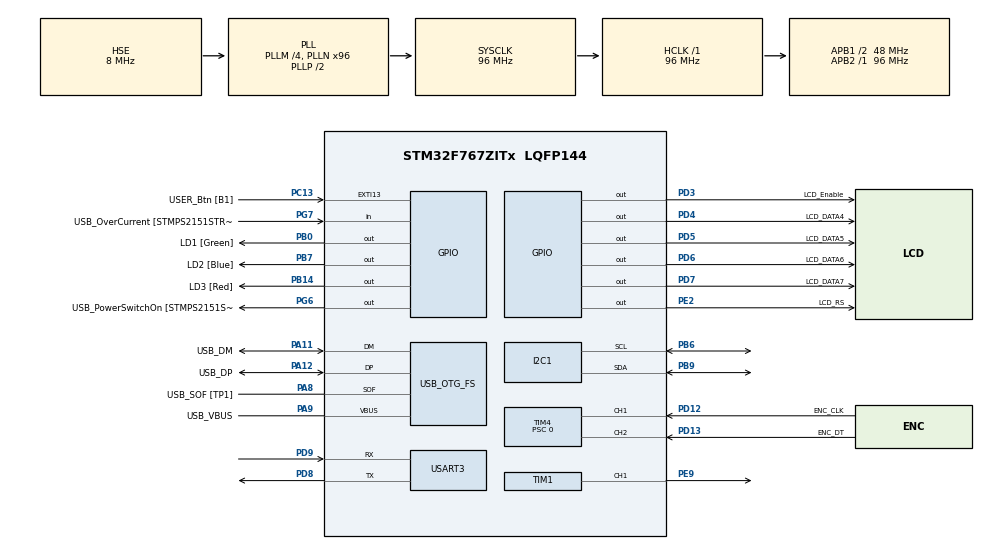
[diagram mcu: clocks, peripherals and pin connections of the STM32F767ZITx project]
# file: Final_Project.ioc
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Dma.Request0=USART3_RX
Dma.USART3_RX.0.Direction=DMA_PERIPH_TO_MEMORY
Dma.USART3_RX.0.FIFOMode=DMA_FIFOMODE_DISABLE
Dma.USART3_RX.0.Instance=DMA1_Stream1
Dma.USART3_RX.0.MemDataAlignment=DMA_MDATAALIGN_BYTE
Dma.USART3_RX.0.MemInc=DMA_MINC_ENABLE
Dma.USART3_RX.0.Mode=DMA_NORMAL
Dma.USART3_RX.0.PeriphDataAlignment=DMA_PDATAALIGN_BYTE
Dma.USART3_RX.0.PeriphInc=DMA_PINC_DISABLE
Dma.USART3_RX.0.Priority=DMA_PRIORITY_LOW
I2C1.Timing=0x20303E5D
Mcu.Family=STM32F7
Mcu.Name=STM32F767ZITx
Mcu.Package=LQFP144
NVIC.DMA1_Stream1_IRQn=true\:0\:0\:false\:true\:true\:2\:false\:true
NVIC.PriorityGroup=NVIC_PRIORITYGROUP_4
NVIC.TIM3_IRQn=true\:0\:0\:false\:false\:true\:true\:true
NVIC.USART3_IRQn=true\:0\:0\:false\:true\:true\:1\:true\:true
PA1.GPIO_Label=RMII_REF_CLK [LAN8742A-CZ-TR_REFCLK0]
PA1.Signal=ETH_REF_CLK
PA10.GPIO_Label=USB_ID
PA10.Signal=USB_OTG_FS_ID
PA11.GPIO_Label=USB_DM
PA11.Mode=Device_Only
PA11.Signal=USB_OTG_FS_DM
PA12.GPIO_Label=USB_DP
PA12.Mode=Device_Only
PA12.Signal=USB_OTG_FS_DP
PA13.GPIO_Label=TMS
PA13.Mode=Serial_Wire
PA13.Signal=SYS_JTMS-SWDIO
PA14.GPIO_Label=TCK
PA14.Mode=Serial_Wire
PA14.Signal=SYS_JTCK-SWCLK
PA2.GPIO_Label=RMII_MDIO [LAN8742A-CZ-TR_MDIO]
PA2.Signal=ETH_MDIO
PA7.GPIO_Label=RMII_CRS_DV [LAN8742A-CZ-TR_CRS_DV]
PA7.Signal=ETH_CRS_DV
PA8.GPIO_Label=USB_SOF [TP1]
PA8.Mode=Activate_SOF_FS
PA8.Signal=USB_OTG_FS_SOF
PA9.GPIO_Label=USB_VBUS
PA9.Mode=Activate_VBUS
PA9.Signal=USB_OTG_FS_VBUS
PB0.GPIO_Label=LD1 [Green]
PB0.Signal=GPIO_Output
PB13.GPIO_Label=RMII_TXD1 [LAN8742A-CZ-TR_TXD1]
PB13.Signal=ETH_TXD1
PB14.GPIO_Label=LD3 [Red]
PB14.Signal=GPIO_Output
PB3.GPIO_Label=SWO
PB3.Signal=SYS_JTDO-SWO
PB6.Mode=I2C
PB6.Signal=I2C1_SCL
PB7.GPIO_Label=LD2 [Blue]
PB7.Signal=GPIO_Output
PB9.Mode=I2C
PB9.Signal=I2C1_SDA
PC1.GPIO_Label=RMII_MDC [LAN8742A-CZ-TR_MDC]
PC1.Signal=ETH_MDC
PC13.GPIO_Label=USER_Btn [B1]
PC13.Signal=GPXTI13
PC14/OSC32_IN.Mode=LSE-External-Oscillator
PC14/OSC32_IN.Signal=RCC_OSC32_IN
PC15/OSC32_OUT.Mode=LSE-External-Oscillator
PC15/OSC32_OUT.Signal=RCC_OSC32_OUT
PC4.GPIO_Label=RMII_RXD0 [LAN8742A-CZ-TR_RXD0]
PC4.Signal=ETH_RXD0
PC5.GPIO_Label=RMII_RXD1 [LAN8742A-CZ-TR_RXD1]
PC5.Signal=ETH_RXD1
PD12.GPIO_Label=ENC_CLK
PD12.Signal=S_TIM4_CH1
PD13.GPIO_Label=ENC_DT
PD13.Signal=S_TIM4_CH2
PD3.GPIO_Label=LCD_Enable
PD3.Signal=GPIO_Output
PD4.GPIO_Label=LCD_DATA4
PD4.Signal=GPIO_Output
PD5.GPIO_Label=LCD_DATA5
PD5.Signal=GPIO_Output
PD6.GPIO_Label=LCD_DATA6
PD6.Signal=GPIO_Output
PD7.GPIO_Label=LCD_DATA7
PD7.Signal=GPIO_Output
PD8.GPIO_ModeDefaultPP=GPIO_MODE_AF_PP
PD8.GPIO_PuPd=GPIO_NOPULL
PD8.GPIO_Speed=GPIO_SPEED_FREQ_VERY_HIGH
PD8.Mode=Asynchronous
PD8.Signal=USART3_TX
PD9.GPIO_ModeDefaultPP=GPIO_MODE_AF_PP
PD9.GPIO_PuPd=GPIO_NOPULL
PD9.GPIO_Speed=GPIO_SPEED_FREQ_VERY_HIGH
PD9.Mode=Asynchronous
PD9.Signal=USART3_RX
PE2.GPIO_Label=LCD_RS
PE2.Signal=GPIO_Output
PE9.Signal=S_TIM1_CH1
PG11.GPIO_Label=RMII_TX_EN [LAN8742A-CZ-TR_TXEN]
PG11.Signal=ETH_TX_EN
PG13.GPIO_Label=RMII_TXD0 [LAN8742A-CZ-TR_TXD0]
PG13.Signal=ETH_TXD0
PG6.GPIO_Label=USB_PowerSwitchOn [STMPS2151STR_EN]
PG6.Signal=GPIO_Output
PG7.GPIO_Label=USB_OverCurrent [STMPS2151STR_FAULT]
PG7.Signal=GPIO_Input
PH0/OSC_IN.GPIO_Label=MCO [STM32F103CBT6_PA8]
PH0/OSC_IN.Mode=HSE-External-Clock-Source
PH0/OSC_IN.Signal=RCC_OSC_IN
PH1/OSC_OUT.Mode=HSE-External-Clock-Source
PH1/OSC_OUT.Signal=RCC_OSC_OUT
ProjectManager.HeapSize=0x200
ProjectManager.StackSize=0x400
ProjectManager.TargetToolchain=STM32CubeIDE
RCC.48MHZClocksFreq_Value=24000000
RCC.AHBFreq_Value=96000000
RCC.APB1CLKDivider=RCC_HCLK_DIV2
RCC.APB1Freq_Value=48000000
RCC.APB1TimFreq_Value=96000000
RCC.APB2Freq_Value=96000000
RCC.APB2TimFreq_Value=96000000
RCC.CortexFreq_Value=96000000
RCC.HCLKFreq_Value=96000000
RCC.HSE_VALUE=8000000
RCC.HSI_VALUE=16000000
RCC.PLLM=4
RCC.PLLMUL=RCC_PLL_MUL9
RCC.PLLN=96
RCC.PLLQ=4
RCC.PRESCALERUSB=RCC_USBCLKSOURCE_PLL_DIV1_5
RCC.SYSCLKFreq_VALUE=96000000
RCC.SYSCLKSource=RCC_SYSCLKSOURCE_PLLCLK
RCC.SYSCLKSourceVirtual=RCC_SYSCLKSOURCE_PLLCLK
RCC.USBFreq_Value=48000000
RCC.VCOOutputFreq_Value=192000000
SH.S_TIM1_CH1.0=TIM1_CH1,PWM Generation1 CH1
SH.S_TIM4_CH1.0=TIM4_CH1,Encoder_Interface
SH.S_TIM4_CH2.0=TIM4_CH2,Encoder_Interface
TIM1.AutoReloadPreload=TIM_AUTORELOAD_PRELOAD_ENABLE
TIM1.Channel-PWM\ Generation1\ CH1=TIM_CHANNEL_1
TIM1.Period=1000-1
TIM1.Prescaler=96-1
TIM3.AutoReloadPreload=TIM_AUTORELOAD_PRELOAD_ENABLE
TIM3.Period=10000-1
TIM3.Prescaler=9600-1
TIM4.AutoReloadPreload=TIM_AUTORELOAD_PRELOAD_ENABLE
TIM4.EncoderMode=TIM_ENCODERMODE_TI12
TIM4.IC1Filter=15
TIM4.IC2Filter=15
TIM4.IC2Polarity=TIM_ICPOLARITY_RISING
TIM4.Period=65535
TIM4.Prescaler=0
TIM4.TIM_MasterOutputTrigger=TIM_TRGO_RESET
USART3.VirtualMode-Asynchronous=VM_ASYNC
USB_OTG_FS.VirtualMode=Device_Only
VP_TIM1_VS_ClockSourceINT.Mode=Internal
VP_TIM3_VS_ClockSourceINT.Mode=Internal
board=NUCLEO-F767ZI

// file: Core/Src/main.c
/* USER CODE BEGIN Header */
/**
  ******************************************************************************
  * @file           : main.c
  * @brief          : Main program body
  ******************************************************************************
  * @attention
  *
  * <h2><center>&copy; Copyright (c) 2022 STMicroelectronics.
  * All rights reserved.</center></h2>
  *
  * This software component is licensed by ST under BSD 3-Clause license,
  * the "License"; You may not use this file except in compliance with the
  * License. You may obtain a copy of the License at:
  *                        opensource.org/licenses/BSD-3-Clause
  *
  ******************************************************************************
  */
/* USER CODE END Header */
#include "main.h"

/* USER CODE BEGIN Includes */
#include "stdio.h"
#include "string.h"
#include "stdlib.h"
#include "BMPXX80.h"
#include "LCD.h"

/* USER CODE END Includes */

I2C_HandleTypeDef hi2c1;

TIM_HandleTypeDef htim1;
TIM_HandleTypeDef htim3;
TIM_HandleTypeDef htim4;

UART_HandleTypeDef huart3;
DMA_HandleTypeDef hdma_usart3_rx;

PCD_HandleTypeDef hpcd_USB_OTG_FS;

/* USER CODE BEGIN PV */
float current_temp_f;
char current_temp_ch_UART[29];
char current_temp_ch_LCD[29];
float set_temp_f = 20.0;

char set_temp_ch_UART[24];
char set_temp_ch_LCD[24];
int32_t pressure;

uint32_t enc_uint;
static uint32_t prev_enc_uint = 65535 / 2;
int32_t enc_diff_int;

char enc_ch[64];

float pwm_duty_f;
uint16_t pwm_duty_u = 0;

char get_UART[10];

/* USER CODE END PV */

void SystemClock_Config(void);
static void MX_GPIO_Init(void);
static void MX_DMA_Init(void);
static void MX_USART3_UART_Init(void);
static void MX_USB_OTG_FS_PCD_Init(void);
static void MX_I2C1_Init(void);
static void MX_TIM1_Init(void);
static void MX_TIM3_Init(void);
static void MX_TIM4_Init(void);
static void MX_NVIC_Init(void);

/* USER CODE BEGIN 0 */
struct Controller{
	float Kp;
	float Ki;
	float Kd;
	float Tp;
	float prev_error;
	float prev_u_I;

};

float calculate_PID(struct Controller *PID, float set_temp, float meas_temp){
	float u = 0;
	float error;
	float u_P, u_I , u_D;

	error = set_temp - meas_temp;

	// Proportional
	u_P = PID->Kp * error;

	// Integral
	u_I = PID->Ki * PID->Tp / 2.0 * (error + PID->prev_error) + PID->prev_u_I;
	PID->prev_u_I = u_I;

	// Derivative
	u_D = (error - PID->prev_error) / PID->Tp;

	PID->prev_error = error;

	// Sum of P, I and D components
	u = u_P + u_I + u_D;

	return u;
}

struct Controller PID1;

/* USER CODE END 0 */

int main(void)
{

  /* MCU Configuration--------------------------------------------------------*/

  /* Reset of all peripherals, Initializes the Flash interface and the Systick. */
  HAL_Init();

  /* Configure the system clock */
  SystemClock_Config();

  /* Initialize all configured peripherals */
  MX_GPIO_Init();
  MX_DMA_Init();
  MX_USART3_UART_Init();
  MX_USB_OTG_FS_PCD_Init();
  MX_I2C1_Init();
  MX_TIM1_Init();
  MX_TIM3_Init();
  MX_TIM4_Init();

  /* Initialize interrupts */
  MX_NVIC_Init();
  /* USER CODE BEGIN 2 */

  // TIM1 used used for controlling MOSFET with PWM
  HAL_TIM_PWM_Start(&htim1, TIM_CHANNEL_1);

  // TIM3 used for sampling temperature and PID controller
  HAL_TIM_Base_Start_IT(&htim3);

  // TIM4 used for encoder
  HAL_TIM_Encoder_Start(&htim4, TIM_CHANNEL_ALL);

  // BMP280 (temperature sensor) init
  BMP280_Init(&hi2c1, BMP280_TEMPERATURE_16BIT, BMP280_STANDARD, BMP280_FORCEDMODE);

  // Prevents from bugging set_temp_f when encoder counter value goes through 0
  htim4.Instance->CNT = 65535 / 2;

  LCD_init();
  LCD_write_command(LCD_CLEAR_INSTRUCTION);
  LCD_write_command(LCD_HOME_INSTRUCTION);
  HAL_Delay(2000);

  // Initialize PID Controller parameters and init data
  PID1.Kp = 0.03928;
  PID1.Ki = 0.0002692;
  PID1.Kd = 0.01957;
  PID1.Tp = 1;
  PID1.prev_error = 0;
  PID1.prev_u_I = 0;

  // Get setpoint value from user
  HAL_UARTEx_ReceiveToIdle_DMA(&huart3, (uint8_t *)get_UART, 10);

  /* USER CODE END 2 */

  /* Infinite loop */
  while (1)
  {

    /* USER CODE BEGIN 3 */

	  // ENCODER
	  enc_uint = __HAL_TIM_GET_COUNTER(&htim4);	// enc_uint = htim4.Instance->CNT;
	  enc_diff_int = enc_uint - prev_enc_uint;
	  if(enc_diff_int >= 2 || enc_diff_int <= -2){
		  enc_diff_int /= 2;
		  set_temp_f += 0.5 * enc_diff_int;
		  if(set_temp_f > 65) set_temp_f = 65;
		  if(set_temp_f < 20) set_temp_f = 20;
	  }
	  prev_enc_uint = enc_uint;

	  // LCD
	  snprintf(current_temp_ch_LCD, LCD_MAXIMUM_LINE_LENGTH, "Temp:  %.2f", current_temp_f);
	  LCD_write_text(current_temp_ch_LCD);
	  LCD_write_data(LCD_CHAR_DEGREE);
	  LCD_write_char('C');
	  snprintf(set_temp_ch_LCD, LCD_MAXIMUM_LINE_LENGTH, "Set T: %.2f", set_temp_f);
	  LCD_goto_line(1);
	  LCD_write_text(set_temp_ch_LCD);
	  LCD_write_data(LCD_CHAR_DEGREE);
	  LCD_write_char('C');
	  HAL_Delay(100);
	  LCD_write_text("                ");
	  LCD_write_command(LCD_HOME_INSTRUCTION);

	  // Reset data from UART
	  memset(get_UART, 0, 10);

  }
  /* USER CODE END 3 */
}

void SystemClock_Config(void)
{
  RCC_OscInitTypeDef RCC_OscInitStruct = {0};
  RCC_ClkInitTypeDef RCC_ClkInitStruct = {0};
  RCC_PeriphCLKInitTypeDef PeriphClkInitStruct = {0};

  /** Configure LSE Drive Capability
  */
  HAL_PWR_EnableBkUpAccess();
  /** Configure the main internal regulator output voltage
  */
  __HAL_RCC_PWR_CLK_ENABLE();
  __HAL_PWR_VOLTAGESCALING_CONFIG(PWR_REGULATOR_VOLTAGE_SCALE3);
  /** Initializes the RCC Oscillators according to the specified parameters
  * in the RCC_OscInitTypeDef structure.
  */
  RCC_OscInitStruct.OscillatorType = RCC_OSCILLATORTYPE_HSE;
  RCC_OscInitStruct.HSEState = RCC_HSE_BYPASS;
  RCC_OscInitStruct.PLL.PLLState = RCC_PLL_ON;
  RCC_OscInitStruct.PLL.PLLSource = RCC_PLLSOURCE_HSE;
  RCC_OscInitStruct.PLL.PLLM = 4;
  RCC_OscInitStruct.PLL.PLLN = 96;
  RCC_OscInitStruct.PLL.PLLP = RCC_PLLP_DIV2;
  RCC_OscInitStruct.PLL.PLLQ = 4;
  RCC_OscInitStruct.PLL.PLLR = 2;
  if (HAL_RCC_OscConfig(&RCC_OscInitStruct) != HAL_OK)
  {
    Error_Handler();
  }
  /** Activate the Over-Drive mode
  */
  if (HAL_PWREx_EnableOverDrive() != HAL_OK)
  {
    Error_Handler();
  }
  /** Initializes the CPU, AHB and APB buses clocks
  */
  RCC_ClkInitStruct.ClockType = RCC_CLOCKTYPE_HCLK|RCC_CLOCKTYPE_SYSCLK
                              |RCC_CLOCKTYPE_PCLK1|RCC_CLOCKTYPE_PCLK2;
  RCC_ClkInitStruct.SYSCLKSource = RCC_SYSCLKSOURCE_PLLCLK;
  RCC_ClkInitStruct.AHBCLKDivider = RCC_SYSCLK_DIV1;
  RCC_ClkInitStruct.APB1CLKDivider = RCC_HCLK_DIV2;
  RCC_ClkInitStruct.APB2CLKDivider = RCC_HCLK_DIV1;

  if (HAL_RCC_ClockConfig(&RCC_ClkInitStruct, FLASH_LATENCY_3) != HAL_OK)
  {
    Error_Handler();
  }
  PeriphClkInitStruct.PeriphClockSelection = RCC_PERIPHCLK_USART3|RCC_PERIPHCLK_I2C1
                              |RCC_PERIPHCLK_CLK48;
  PeriphClkInitStruct.Usart3ClockSelection = RCC_USART3CLKSOURCE_PCLK1;
  PeriphClkInitStruct.I2c1ClockSelection = RCC_I2C1CLKSOURCE_PCLK1;
  PeriphClkInitStruct.Clk48ClockSelection = RCC_CLK48SOURCE_PLL;
  if (HAL_RCCEx_PeriphCLKConfig(&PeriphClkInitStruct) != HAL_OK)
  {
    Error_Handler();
  }
}

/**
  * @brief NVIC Configuration.
  * @retval None
  */
static void MX_NVIC_Init(void)
{
  /* USART3_IRQn interrupt configuration */
  HAL_NVIC_SetPriority(USART3_IRQn, 0, 0);
  HAL_NVIC_EnableIRQ(USART3_IRQn);
  /* DMA1_Stream1_IRQn interrupt configuration */
  HAL_NVIC_SetPriority(DMA1_Stream1_IRQn, 0, 0);
  HAL_NVIC_EnableIRQ(DMA1_Stream1_IRQn);
}

static void MX_I2C1_Init(void)
{

  hi2c1.Instance = I2C1;
  hi2c1.Init.Timing = 0x20303E5D;
  hi2c1.Init.OwnAddress1 = 0;
  hi2c1.Init.AddressingMode = I2C_ADDRESSINGMODE_7BIT;
  hi2c1.Init.DualAddressMode = I2C_DUALADDRESS_DISABLE;
  hi2c1.Init.OwnAddress2 = 0;
  hi2c1.Init.OwnAddress2Masks = I2C_OA2_NOMASK;
  hi2c1.Init.GeneralCallMode = I2C_GENERALCALL_DISABLE;
  hi2c1.Init.NoStretchMode = I2C_NOSTRETCH_DISABLE;
  if (HAL_I2C_Init(&hi2c1) != HAL_OK)
  {
    Error_Handler();
  }
  /** Configure Analogue filter
  */
  if (HAL_I2CEx_ConfigAnalogFilter(&hi2c1, I2C_ANALOGFILTER_ENABLE) != HAL_OK)
  {
    Error_Handler();
  }
  /** Configure Digital filter
  */
  if (HAL_I2CEx_ConfigDigitalFilter(&hi2c1, 0) != HAL_OK)
  {
    Error_Handler();
  }

}

static void MX_TIM1_Init(void)
{

  TIM_ClockConfigTypeDef sClockSourceConfig = {0};
  TIM_MasterConfigTypeDef sMasterConfig = {0};
  TIM_OC_InitTypeDef sConfigOC = {0};
  TIM_BreakDeadTimeConfigTypeDef sBreakDeadTimeConfig = {0};

  htim1.Instance = TIM1;
  htim1.Init.Prescaler = 96-1;
  htim1.Init.CounterMode = TIM_COUNTERMODE_UP;
  htim1.Init.Period = 1000-1;
  htim1.Init.ClockDivision = TIM_CLOCKDIVISION_DIV1;
  htim1.Init.RepetitionCounter = 0;
  htim1.Init.AutoReloadPreload = TIM_AUTORELOAD_PRELOAD_ENABLE;
  if (HAL_TIM_Base_Init(&htim1) != HAL_OK)
  {
    Error_Handler();
  }
  sClockSourceConfig.ClockSource = TIM_CLOCKSOURCE_INTERNAL;
  if (HAL_TIM_ConfigClockSource(&htim1, &sClockSourceConfig) != HAL_OK)
  {
    Error_Handler();
  }
  if (HAL_TIM_PWM_Init(&htim1) != HAL_OK)
  {
    Error_Handler();
  }
  sMasterConfig.MasterOutputTrigger = TIM_TRGO_RESET;
  sMasterConfig.MasterOutputTrigger2 = TIM_TRGO2_RESET;
  sMasterConfig.MasterSlaveMode = TIM_MASTERSLAVEMODE_DISABLE;
  if (HAL_TIMEx_MasterConfigSynchronization(&htim1, &sMasterConfig) != HAL_OK)
  {
    Error_Handler();
  }
  sConfigOC.OCMode = TIM_OCMODE_PWM1;
  sConfigOC.Pulse = 0;
  sConfigOC.OCPolarity = TIM_OCPOLARITY_HIGH;
  sConfigOC.OCNPolarity = TIM_OCNPOLARITY_HIGH;
  sConfigOC.OCFastMode = TIM_OCFAST_DISABLE;
  sConfigOC.OCIdleState = TIM_OCIDLESTATE_RESET;
  sConfigOC.OCNIdleState = TIM_OCNIDLESTATE_RESET;
  if (HAL_TIM_PWM_ConfigChannel(&htim1, &sConfigOC, TIM_CHANNEL_1) != HAL_OK)
  {
    Error_Handler();
  }
  sBreakDeadTimeConfig.OffStateRunMode = TIM_OSSR_DISABLE;
  sBreakDeadTimeConfig.OffStateIDLEMode = TIM_OSSI_DISABLE;
  sBreakDeadTimeConfig.LockLevel = TIM_LOCKLEVEL_OFF;
  sBreakDeadTimeConfig.DeadTime = 0;
  sBreakDeadTimeConfig.BreakState = TIM_BREAK_DISABLE;
  sBreakDeadTimeConfig.BreakPolarity = TIM_BREAKPOLARITY_HIGH;
  sBreakDeadTimeConfig.BreakFilter = 0;
  sBreakDeadTimeConfig.Break2State = TIM_BREAK2_DISABLE;
  sBreakDeadTimeConfig.Break2Polarity = TIM_BREAK2POLARITY_HIGH;
  sBreakDeadTimeConfig.Break2Filter = 0;
  sBreakDeadTimeConfig.AutomaticOutput = TIM_AUTOMATICOUTPUT_DISABLE;
  if (HAL_TIMEx_ConfigBreakDeadTime(&htim1, &sBreakDeadTimeConfig) != HAL_OK)
  {
    Error_Handler();
  }
  HAL_TIM_MspPostInit(&htim1);

}

static void MX_TIM3_Init(void)
{

  TIM_ClockConfigTypeDef sClockSourceConfig = {0};
  TIM_MasterConfigTypeDef sMasterConfig = {0};

  htim3.Instance = TIM3;
  htim3.Init.Prescaler = 9600-1;
  htim3.Init.CounterMode = TIM_COUNTERMODE_UP;
  htim3.Init.Period = 10000-1;
  htim3.Init.ClockDivision = TIM_CLOCKDIVISION_DIV1;
  htim3.Init.AutoReloadPreload = TIM_AUTORELOAD_PRELOAD_ENABLE;
  if (HAL_TIM_Base_Init(&htim3) != HAL_OK)
  {
    Error_Handler();
  }
  sClockSourceConfig.ClockSource = TIM_CLOCKSOURCE_INTERNAL;
  if (HAL_TIM_ConfigClockSource(&htim3, &sClockSourceConfig) != HAL_OK)
  {
    Error_Handler();
  }
  sMasterConfig.MasterOutputTrigger = TIM_TRGO_RESET;
  sMasterConfig.MasterSlaveMode = TIM_MASTERSLAVEMODE_DISABLE;
  if (HAL_TIMEx_MasterConfigSynchronization(&htim3, &sMasterConfig) != HAL_OK)
  {
    Error_Handler();
  }

}

static void MX_TIM4_Init(void)
{

  TIM_Encoder_InitTypeDef sConfig = {0};
  TIM_MasterConfigTypeDef sMasterConfig = {0};

  htim4.Instance = TIM4;
  htim4.Init.Prescaler = 0;
  htim4.Init.CounterMode = TIM_COUNTERMODE_UP;
  htim4.Init.Period = 65535;
  htim4.Init.ClockDivision = TIM_CLOCKDIVISION_DIV1;
  htim4.Init.AutoReloadPreload = TIM_AUTORELOAD_PRELOAD_ENABLE;
  sConfig.EncoderMode = TIM_ENCODERMODE_TI12;
  sConfig.IC1Polarity = TIM_ICPOLARITY_RISING;
  sConfig.IC1Selection = TIM_ICSELECTION_DIRECTTI;
  sConfig.IC1Prescaler = TIM_ICPSC_DIV1;
  sConfig.IC1Filter = 15;
  sConfig.IC2Polarity = TIM_ICPOLARITY_RISING;
  sConfig.IC2Selection = TIM_ICSELECTION_DIRECTTI;
  sConfig.IC2Prescaler = TIM_ICPSC_DIV1;
  sConfig.IC2Filter = 15;
  if (HAL_TIM_Encoder_Init(&htim4, &sConfig) != HAL_OK)
  {
    Error_Handler();
  }
  sMasterConfig.MasterOutputTrigger = TIM_TRGO_RESET;
  sMasterConfig.MasterSlaveMode = TIM_MASTERSLAVEMODE_DISABLE;
  if (HAL_TIMEx_MasterConfigSynchronization(&htim4, &sMasterConfig) != HAL_OK)
  {
    Error_Handler();
  }

}

static void MX_USART3_UART_Init(void)
{

  huart3.Instance = USART3;
  huart3.Init.BaudRate = 115200;
  huart3.Init.WordLength = UART_WORDLENGTH_8B;
  huart3.Init.StopBits = UART_STOPBITS_1;
  huart3.Init.Parity = UART_PARITY_NONE;
  huart3.Init.Mode = UART_MODE_TX_RX;
  huart3.Init.HwFlowCtl = UART_HWCONTROL_NONE;
  huart3.Init.OverSampling = UART_OVERSAMPLING_16;
  huart3.Init.OneBitSampling = UART_ONE_BIT_SAMPLE_DISABLE;
  huart3.AdvancedInit.AdvFeatureInit = UART_ADVFEATURE_NO_INIT;
  if (HAL_UART_Init(&huart3) != HAL_OK)
  {
    Error_Handler();
  }

}

static void MX_USB_OTG_FS_PCD_Init(void)
{

  hpcd_USB_OTG_FS.Instance = USB_OTG_FS;
  hpcd_USB_OTG_FS.Init.dev_endpoints = 6;
  hpcd_USB_OTG_FS.Init.speed = PCD_SPEED_FULL;
  hpcd_USB_OTG_FS.Init.dma_enable = DISABLE;
  hpcd_USB_OTG_FS.Init.phy_itface = PCD_PHY_EMBEDDED;
  hpcd_USB_OTG_FS.Init.Sof_enable = ENABLE;
  hpcd_USB_OTG_FS.Init.low_power_enable = DISABLE;
  hpcd_USB_OTG_FS.Init.lpm_enable = DISABLE;
  hpcd_USB_OTG_FS.Init.vbus_sensing_enable = ENABLE;
  hpcd_USB_OTG_FS.Init.use_dedicated_ep1 = DISABLE;
  if (HAL_PCD_Init(&hpcd_USB_OTG_FS) != HAL_OK)
  {
    Error_Handler();
  }

}

static void MX_DMA_Init(void)
{

  /* DMA controller clock enable */
  __HAL_RCC_DMA1_CLK_ENABLE();

}

static void MX_GPIO_Init(void)
{
  GPIO_InitTypeDef GPIO_InitStruct = {0};

  /* GPIO Ports Clock Enable */
  __HAL_RCC_GPIOE_CLK_ENABLE();
  __HAL_RCC_GPIOC_CLK_ENABLE();
  __HAL_RCC_GPIOH_CLK_ENABLE();
  __HAL_RCC_GPIOA_CLK_ENABLE();
  __HAL_RCC_GPIOB_CLK_ENABLE();
  __HAL_RCC_GPIOD_CLK_ENABLE();
  __HAL_RCC_GPIOG_CLK_ENABLE();

  /*Configure GPIO pin Output Level */
  HAL_GPIO_WritePin(LCD_RS_GPIO_Port, LCD_RS_Pin, GPIO_PIN_RESET);

  /*Configure GPIO pin Output Level */
  HAL_GPIO_WritePin(GPIOB, LD1_Pin|LD3_Pin|LD2_Pin, GPIO_PIN_RESET);

  /*Configure GPIO pin Output Level */
  HAL_GPIO_WritePin(USB_PowerSwitchOn_GPIO_Port, USB_PowerSwitchOn_Pin, GPIO_PIN_RESET);

  /*Configure GPIO pin Output Level */
  HAL_GPIO_WritePin(GPIOD, LCD_Enable_Pin|LCD_DATA4_Pin|LCD_DATA5_Pin|LCD_DATA6_Pin
                          |LCD_DATA7_Pin, GPIO_PIN_RESET);

  /*Configure GPIO pin : LCD_RS_Pin */
  GPIO_InitStruct.Pin = LCD_RS_Pin;
  GPIO_InitStruct.Mode = GPIO_MODE_OUTPUT_PP;
  GPIO_InitStruct.Pull = GPIO_NOPULL;
  GPIO_InitStruct.Speed = GPIO_SPEED_FREQ_LOW;
  HAL_GPIO_Init(LCD_RS_GPIO_Port, &GPIO_InitStruct);

  /*Configure GPIO pin : USER_Btn_Pin */
  GPIO_InitStruct.Pin = USER_Btn_Pin;
  GPIO_InitStruct.Mode = GPIO_MODE_IT_RISING;
  GPIO_InitStruct.Pull = GPIO_NOPULL;
  HAL_GPIO_Init(USER_Btn_GPIO_Port, &GPIO_InitStruct);

  /*Configure GPIO pins : RMII_MDC_Pin RMII_RXD0_Pin RMII_RXD1_Pin */
  GPIO_InitStruct.Pin = RMII_MDC_Pin|RMII_RXD0_Pin|RMII_RXD1_Pin;
  GPIO_InitStruct.Mode = GPIO_MODE_AF_PP;
  GPIO_InitStruct.Pull = GPIO_NOPULL;
  GPIO_InitStruct.Speed = GPIO_SPEED_FREQ_VERY_HIGH;
  GPIO_InitStruct.Alternate = GPIO_AF11_ETH;
  HAL_GPIO_Init(GPIOC, &GPIO_InitStruct);

  /*Configure GPIO pins : RMII_REF_CLK_Pin RMII_MDIO_Pin RMII_CRS_DV_Pin */
  GPIO_InitStruct.Pin = RMII_REF_CLK_Pin|RMII_MDIO_Pin|RMII_CRS_DV_Pin;
  GPIO_InitStruct.Mode = GPIO_MODE_AF_PP;
  GPIO_InitStruct.Pull = GPIO_NOPULL;
  GPIO_InitStruct.Speed = GPIO_SPEED_FREQ_VERY_HIGH;
  GPIO_InitStruct.Alternate = GPIO_AF11_ETH;
  HAL_GPIO_Init(GPIOA, &GPIO_InitStruct);

  /*Configure GPIO pins : LD1_Pin LD3_Pin LD2_Pin */
  GPIO_InitStruct.Pin = LD1_Pin|LD3_Pin|LD2_Pin;
  GPIO_InitStruct.Mode = GPIO_MODE_OUTPUT_PP;
  GPIO_InitStruct.Pull = GPIO_NOPULL;
  GPIO_InitStruct.Speed = GPIO_SPEED_FREQ_LOW;
  HAL_GPIO_Init(GPIOB, &GPIO_InitStruct);

  /*Configure GPIO pin : RMII_TXD1_Pin */
  GPIO_InitStruct.Pin = RMII_TXD1_Pin;
  GPIO_InitStruct.Mode = GPIO_MODE_AF_PP;
  GPIO_InitStruct.Pull = GPIO_NOPULL;
  GPIO_InitStruct.Speed = GPIO_SPEED_FREQ_VERY_HIGH;
  GPIO_InitStruct.Alternate = GPIO_AF11_ETH;
  HAL_GPIO_Init(RMII_TXD1_GPIO_Port, &GPIO_InitStruct);

  /*Configure GPIO pin : USB_PowerSwitchOn_Pin */
  GPIO_InitStruct.Pin = USB_PowerSwitchOn_Pin;
  GPIO_InitStruct.Mode = GPIO_MODE_OUTPUT_PP;
  GPIO_InitStruct.Pull = GPIO_NOPULL;
  GPIO_InitStruct.Speed = GPIO_SPEED_FREQ_LOW;
  HAL_GPIO_Init(USB_PowerSwitchOn_GPIO_Port, &GPIO_InitStruct);

  /*Configure GPIO pin : USB_OverCurrent_Pin */
  GPIO_InitStruct.Pin = USB_OverCurrent_Pin;
  GPIO_InitStruct.Mode = GPIO_MODE_INPUT;
  GPIO_InitStruct.Pull = GPIO_NOPULL;
  HAL_GPIO_Init(USB_OverCurrent_GPIO_Port, &GPIO_InitStruct);

  /*Configure GPIO pins : LCD_Enable_Pin LCD_DATA4_Pin LCD_DATA5_Pin LCD_DATA6_Pin
                           LCD_DATA7_Pin */
  GPIO_InitStruct.Pin = LCD_Enable_Pin|LCD_DATA4_Pin|LCD_DATA5_Pin|LCD_DATA6_Pin
                          |LCD_DATA7_Pin;
  GPIO_InitStruct.Mode = GPIO_MODE_OUTPUT_PP;
  GPIO_InitStruct.Pull = GPIO_NOPULL;
  GPIO_InitStruct.Speed = GPIO_SPEED_FREQ_LOW;
  HAL_GPIO_Init(GPIOD, &GPIO_InitStruct);

  /*Configure GPIO pins : RMII_TX_EN_Pin RMII_TXD0_Pin */
  GPIO_InitStruct.Pin = RMII_TX_EN_Pin|RMII_TXD0_Pin;
  GPIO_InitStruct.Mode = GPIO_MODE_AF_PP;
  GPIO_InitStruct.Pull = GPIO_NOPULL;
  GPIO_InitStruct.Speed = GPIO_SPEED_FREQ_VERY_HIGH;
  GPIO_InitStruct.Alternate = GPIO_AF11_ETH;
  HAL_GPIO_Init(GPIOG, &GPIO_InitStruct);

}

/* USER CODE BEGIN 4 */
// TIMERS callback handling
void HAL_TIM_PeriodElapsedCallback(TIM_HandleTypeDef *htim){
	if(htim->Instance == TIM3){
		// TEMPERATURE
		BMP280_ReadTemperatureAndPressure(&current_temp_f, &pressure);
		sprintf(current_temp_ch_UART, "Current temperature: %.2f\n\r", current_temp_f);
		HAL_UART_Transmit(&huart3, (uint8_t *)current_temp_ch_UART, sizeof(current_temp_ch_UART)-1, 1000);

		sprintf((char*)set_temp_ch_UART, "Set temperature: %.2f\n\r", set_temp_f);
		HAL_UART_Transmit(&huart3, (uint8_t*)set_temp_ch_UART, strlen(set_temp_ch_UART), 1000);

		pwm_duty_f = (htim1.Init.Period * calculate_PID(&PID1, set_temp_f, current_temp_f));

		// Saturation
		if(pwm_duty_f < 0.0) pwm_duty_u = 0;
		else if(pwm_duty_f > htim1.Init.Period) pwm_duty_u = htim1.Init.Period;
		else pwm_duty_u = (uint16_t) pwm_duty_f;

//		pwm_duty_u = htim1.Init.Period;		// 100% PWM duty for creating model
		__HAL_TIM_SET_COMPARE(&htim1, TIM_CHANNEL_1, pwm_duty_u);

	}

}

// UART callback handling
void HAL_UARTEx_RxEventCallback(UART_HandleTypeDef *huart, uint16_t Size){
	if(huart->Instance == USART3){
		float tmp = atof(get_UART);
		if(tmp < 20) set_temp_f = 20;
		else if(tmp > 65) set_temp_f = 65;
		else set_temp_f = tmp;

		HAL_UARTEx_ReceiveToIdle_DMA(&huart3, (uint8_t *)get_UART, 10);
	}
}

/* USER CODE END 4 */

void Error_Handler(void)
{
  __disable_irq();
  while (1)
  {
  }
}

/************************ (C) COPYRIGHT STMicroelectronics *****END OF FILE****/
